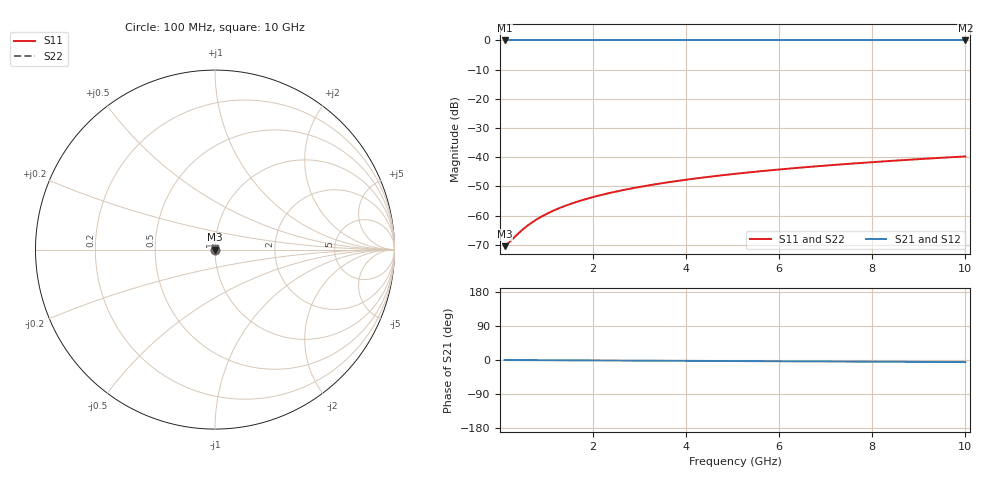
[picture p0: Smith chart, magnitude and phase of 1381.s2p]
# Hz S RI R 50.00
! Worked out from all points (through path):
!   100 points, 100 MHz to 10 GHz, reference 50 ohm
!   highest |S21| = 0.00 dB at 100 MHz (marker M1); lowest = 0.0 dB at 10 GHz (marker M2)
!   lowest |S11| = -70.4 dB at 100 MHz (marker M3), VSWR 1.00, Z = 50 + j0.0103 ohm
!   |S11| at or under -10 dB: start of sweep to end of sweep
!   |S22| runs from -70.4 to -39.7 dB; largest |S21 - S12| = 0
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1e8  0.000283 0.000103  0.9997 -0.000965  0.9997 -0.000965  0.000283 0.000103
2e8  0.000284 0.000206  0.9997 -0.00193  0.9997 -0.00193  0.000284 0.000206
4e8  0.000287 0.000412  0.9997 -0.00386  0.9997 -0.00386  0.000287 0.000412
5e8  0.000289 0.000515  0.9997 -0.00483  0.9997 -0.00483  0.000289 0.000515
6e8  0.00029 0.000618  0.9997 -0.00579  0.9997 -0.00579  0.00029 0.000618
7e8  0.000292 0.000721  0.9997 -0.00676  0.9997 -0.00676  0.000292 0.000721
8e8  0.000294 0.000823  0.9997 -0.00772  0.9997 -0.00772  0.000294 0.000823
1e9  0.000298 0.00103  0.9997 -0.00965  0.9997 -0.00965  0.000298 0.00103
1.2e9  0.000303 0.00123  0.9996 -0.0116  0.9996 -0.0116  0.000303 0.00123
1.5e9  0.000311 0.00154  0.9996 -0.0145  0.9996 -0.0145  0.000311 0.00154
1.8e9  0.000321 0.00185  0.9995 -0.0174  0.9995 -0.0174  0.000321 0.00185
2.1e9  0.000333 0.00216  0.9995 -0.0203  0.9995 -0.0203  0.000333 0.00216
2.5e9  0.000352 0.00257  0.9994 -0.0241  0.9994 -0.0241  0.000352 0.00257
2.9e9  0.000373 0.00298  0.9993 -0.028  0.9993 -0.028  0.000373 0.00298
3.4e9  0.000404 0.00349  0.9991 -0.0329  0.9991 -0.0329  0.000404 0.00349
4.2e9  0.000464 0.00431  0.9988 -0.0406  0.9988 -0.0406  0.000464 0.00431
5.1e9  0.000547 0.00523  0.9984 -0.0493  0.9984 -0.0493  0.000547 0.00523
5.9e9  0.000634 0.00604  0.998 -0.0571  0.998 -0.0571  0.000634 0.00604
6.7e9  0.000735 0.00686  0.9975 -0.0649  0.9975 -0.0649  0.000735 0.00686
7.5e9  0.000848 0.00768  0.997 -0.0727  0.997 -0.0727  0.000848 0.00768
8.4e9  0.000991 0.00861  0.9963 -0.0814  0.9963 -0.0814  0.000991 0.00861
1e10  0.00129 0.0103  0.9949 -0.0971  0.9949 -0.0971  0.00129 0.0103
